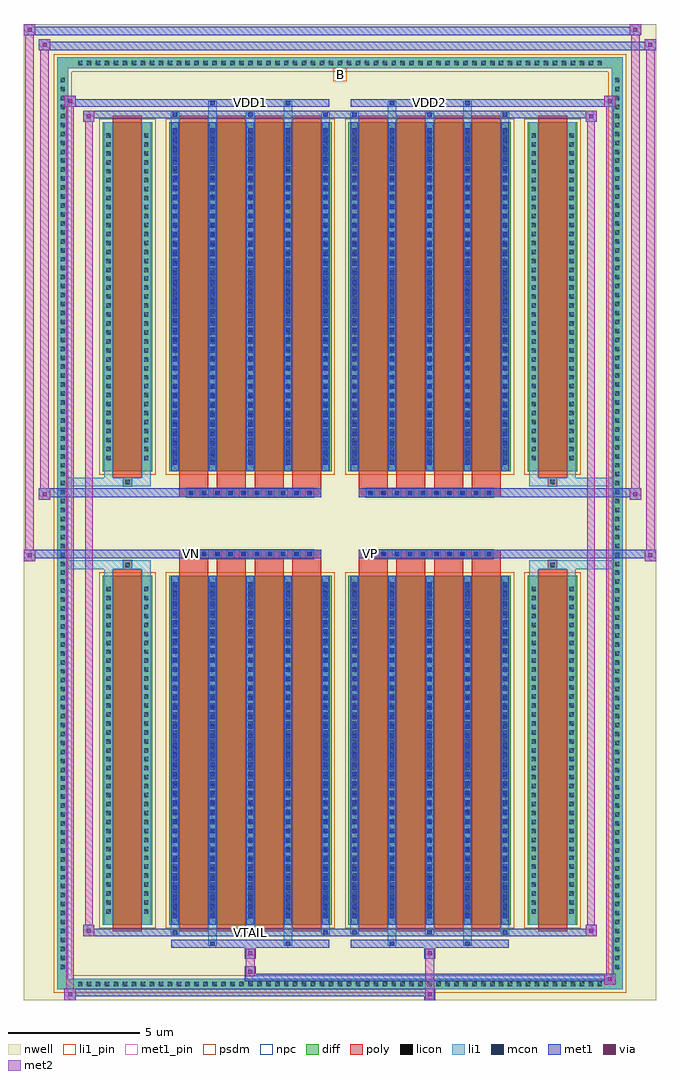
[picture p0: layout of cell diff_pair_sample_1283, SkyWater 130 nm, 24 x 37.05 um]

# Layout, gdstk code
import gdstk
lib = gdstk.Library(unit=1e-6, precision=5e-09)
def R(c, l, rs):  # rectangles x0, y0, x1, y1
    for r in rs: c.add(gdstk.rectangle(r[:2], r[2:], *l))
def A(c, l, x, y, w, h, nx, ny, dx, dy):  # array of equal rectangles
    R(c, l, [(x+i*dx, y+j*dy, x+i*dx+w, y+j*dy+h) for i in range(nx) for j in range(ny)])
def P(c, l, *ps):  # polygons
    for p in ps: c.add(gdstk.Polygon(p, *l))
nwell = (64, 20)
diff = (65, 20)
poly = (66, 20)
licon = (66, 44)
li1_pin = (67, 16)
li1 = (67, 20)
mcon = (67, 44)
met1_pin = (68, 16)
met1 = (68, 20)
via = (68, 44)
met2 = (69, 20)
psdm = (94, 20)
npc = (95, 20)

diff_pair_sample_1283 = lib.new_cell('diff_pair_sample_1283')
R(diff_pair_sample_1283, nwell, [(-12,-18.09,12,18.96), (-9.32,-16.28,-0.01,-0.8), (0.01,-16.28,9.32,-0.8), (-9.32,0.8,-0.01,16.28), (0.01,0.8,9.32,16.28)])
A(diff_pair_sample_1283, diff, -10.065, -17.69, 0.41, 0.41, 59, 2, 0.34, 34.97)
A(diff_pair_sample_1283, diff, -10.73, -17.035, 0.41, 0.41, 1, 100, 0, 0.34)
A(diff_pair_sample_1283, diff, 10.32, -17.035, 0.41, 0.41, 1, 100, 0, 0.34)
R(diff_pair_sample_1283, diff, [(-10.065,-17.69,10.065,-17.28), (-10.73,-17.035,-10.32,17.035), (10.32,-17.035,10.73,17.035), (-9.01,-15.235,-7.13,-1.985), (-6.49,-15.235,-0.32,-1.985), (0.32,-15.235,6.49,-1.985), (7.13,-15.235,9.01,-1.985), (-9.01,1.985,-7.13,15.235), (-6.49,1.985,-0.32,15.235), (0.32,1.985,6.49,15.235), (7.13,1.985,9.01,15.235), (-10.065,17.28,10.065,17.69)])
P(diff_pair_sample_1283, diff, [(10.73,17.69),(-10.73,17.69),(-10.73,-17.28),(-10.32,-17.28),(-10.32,17.28),(10.32,17.28),(10.32,-17.28),(-10.32,-17.28),(-10.73,-17.28),(-10.73,-17.69),(10.73,-17.69)])
A(diff_pair_sample_1283, poly, -6.1, -15.485, 1.1, 13.75, 4, 2, 1.43, 17.22)
A(diff_pair_sample_1283, poly, 0.71, -15.485, 1.1, 13.75, 4, 2, 1.43, 17.22)
A(diff_pair_sample_1283, poly, -6.1, -1.735, 1.1, 0.405, 4, 2, 1.43, 3.065)
A(diff_pair_sample_1283, poly, 0.71, -1.735, 1.1, 0.405, 4, 2, 1.43, 3.065)
A(diff_pair_sample_1283, poly, -5.82, -1.33, 0.33, 0.33, 10, 2, 0.5, 2.33)
A(diff_pair_sample_1283, poly, 0.99, -1.33, 0.33, 0.33, 10, 2, 0.5, 2.33)
R(diff_pair_sample_1283, poly, [(-8.62,-15.485,-7.52,-1.735), (7.52,-15.485,8.62,-1.735), (-8.235,-1.735,-7.905,-1.405), (-8.235,-1.735,-7.905,-1.405), (7.905,-1.735,8.235,-1.405), (7.905,-1.735,8.235,-1.405), (-6.1,-1.33,-0.71,-1), (0.71,-1.33,6.1,-1), (-6.1,1,-0.71,1.33), (0.71,1,6.1,1.33), (-8.235,1.405,-7.905,1.735), (-8.235,1.405,-7.905,1.735), (7.905,1.405,8.235,1.735), (7.905,1.405,8.235,1.735), (-8.62,1.735,-7.52,15.485), (7.52,1.735,8.62,15.485)])
A(diff_pair_sample_1283, licon, -9.945, -17.57, 0.17, 0.17, 59, 2, 0.34, 34.97)
A(diff_pair_sample_1283, licon, -10.61, -16.915, 0.17, 0.17, 1, 100, 0, 0.34)
A(diff_pair_sample_1283, licon, 10.44, -16.915, 0.17, 0.17, 1, 100, 0, 0.34)
A(diff_pair_sample_1283, licon, -8.87, -14.815, 0.17, 0.17, 1, 37, 0, 0.34)
A(diff_pair_sample_1283, licon, -7.44, -14.815, 0.17, 0.17, 1, 37, 0, 0.34)
A(diff_pair_sample_1283, licon, -6.35, -14.815, 0.17, 0.17, 5, 37, 1.43, 0.34)
A(diff_pair_sample_1283, licon, 0.46, -14.815, 0.17, 0.17, 5, 37, 1.43, 0.34)
A(diff_pair_sample_1283, licon, 7.27, -14.815, 0.17, 0.17, 1, 37, 0, 0.34)
A(diff_pair_sample_1283, licon, 8.7, -14.815, 0.17, 0.17, 1, 37, 0, 0.34)
A(diff_pair_sample_1283, licon, -5.74, -1.25, 0.17, 0.17, 10, 2, 0.5, 2.33)
A(diff_pair_sample_1283, licon, 1.07, -1.25, 0.17, 0.17, 10, 2, 0.5, 2.33)
A(diff_pair_sample_1283, licon, -8.87, 2.405, 0.17, 0.17, 1, 37, 0, 0.34)
A(diff_pair_sample_1283, licon, -7.44, 2.405, 0.17, 0.17, 1, 37, 0, 0.34)
A(diff_pair_sample_1283, licon, -6.35, 2.405, 0.17, 0.17, 5, 37, 1.43, 0.34)
A(diff_pair_sample_1283, licon, 0.46, 2.405, 0.17, 0.17, 5, 37, 1.43, 0.34)
A(diff_pair_sample_1283, licon, 7.27, 2.405, 0.17, 0.17, 1, 37, 0, 0.34)
A(diff_pair_sample_1283, licon, 8.7, 2.405, 0.17, 0.17, 1, 37, 0, 0.34)
R(diff_pair_sample_1283, licon, [(-8.155,-1.655,-7.985,-1.485), (7.985,-1.655,8.155,-1.485), (-8.155,1.485,-7.985,1.655), (7.985,1.485,8.155,1.655)])
R(diff_pair_sample_1283, li1_pin, [(-0.25,16.78,0.25,17.28)])
A(diff_pair_sample_1283, li1, -10.025, -17.65, 0.33, 0.33, 59, 2, 0.34, 34.97)
A(diff_pair_sample_1283, li1, -10.69, -16.995, 0.33, 0.33, 1, 100, 0, 0.34)
A(diff_pair_sample_1283, li1, 10.36, -16.995, 0.33, 0.33, 1, 100, 0, 0.34)
A(diff_pair_sample_1283, li1, -6.43, -15.61, 0.33, 0.375, 3, 2, 2.86, 30.845)
A(diff_pair_sample_1283, li1, -6.35, -15.61, 0.17, 0.17, 3, 2, 2.86, 31.05)
A(diff_pair_sample_1283, li1, 0.38, -15.61, 0.33, 0.375, 3, 2, 2.86, 30.845)
A(diff_pair_sample_1283, li1, 0.46, -15.61, 0.17, 0.17, 3, 2, 2.86, 31.05)
A(diff_pair_sample_1283, li1, -6.43, -15.235, 0.33, 13.25, 5, 2, 1.43, 17.22)
A(diff_pair_sample_1283, li1, 0.38, -15.235, 0.33, 13.25, 5, 2, 1.43, 17.22)
A(diff_pair_sample_1283, li1, -6.35, -14.995, 0.17, 0.17, 5, 36, 1.43, 0.36)
A(diff_pair_sample_1283, li1, -6.35, -14.995, 0.17, 12.77, 5, 2, 1.43, 17.22)
A(diff_pair_sample_1283, li1, 0.46, -14.995, 0.17, 0.17, 5, 36, 1.43, 0.36)
A(diff_pair_sample_1283, li1, 0.46, -14.995, 0.17, 12.77, 5, 2, 1.43, 17.22)
A(diff_pair_sample_1283, li1, -8.95, -14.895, 0.33, 0.33, 1, 37, 0, 0.34)
A(diff_pair_sample_1283, li1, -7.52, -14.895, 0.33, 0.33, 1, 37, 0, 0.34)
A(diff_pair_sample_1283, li1, -6.43, -14.895, 0.33, 0.33, 5, 37, 1.43, 0.34)
A(diff_pair_sample_1283, li1, 0.38, -14.895, 0.33, 0.33, 5, 37, 1.43, 0.34)
A(diff_pair_sample_1283, li1, 7.19, -14.895, 0.33, 0.33, 1, 37, 0, 0.34)
A(diff_pair_sample_1283, li1, 8.62, -14.895, 0.33, 0.33, 1, 37, 0, 0.34)
A(diff_pair_sample_1283, li1, -5.82, -1.33, 0.33, 0.33, 10, 2, 0.5, 2.33)
A(diff_pair_sample_1283, li1, 0.99, -1.33, 0.33, 0.33, 10, 2, 0.5, 2.33)
A(diff_pair_sample_1283, li1, -6.35, 2.225, 0.17, 0.17, 5, 36, 1.43, 0.36)
A(diff_pair_sample_1283, li1, 0.46, 2.225, 0.17, 0.17, 5, 36, 1.43, 0.36)
A(diff_pair_sample_1283, li1, -8.95, 2.325, 0.33, 0.33, 1, 37, 0, 0.34)
A(diff_pair_sample_1283, li1, -7.52, 2.325, 0.33, 0.33, 1, 37, 0, 0.34)
A(diff_pair_sample_1283, li1, -6.43, 2.325, 0.33, 0.33, 5, 37, 1.43, 0.34)
A(diff_pair_sample_1283, li1, 0.38, 2.325, 0.33, 0.33, 5, 37, 1.43, 0.34)
A(diff_pair_sample_1283, li1, 7.19, 2.325, 0.33, 0.33, 1, 37, 0, 0.34)
A(diff_pair_sample_1283, li1, 8.62, 2.325, 0.33, 0.33, 1, 37, 0, 0.34)
R(diff_pair_sample_1283, li1, [(-10.73,-17.69,-10.32,-17.28), (-10.73,-17.69,-10.32,-17.28), (-10.32,-17.69,10.32,-17.28), (10.32,-17.69,10.73,-17.28), (10.32,-17.69,10.73,-17.28), (-10.73,-17.28,-10.32,17.28), (10.32,-17.28,10.73,17.28), (-5,-16.04,-4.67,-15.235), (-4.92,-16.04,-4.75,-15.87), (-2.14,-16.04,-1.81,-15.235), (-2.06,-16.04,-1.89,-15.87), (1.81,-16.04,2.14,-15.235), (1.89,-16.04,2.06,-15.87), (4.67,-16.04,5,-15.235), (4.75,-16.04,4.92,-15.87), (-8.95,-15.235,-8.62,-1.985), (-7.52,-15.235,-7.19,-1.985), (7.19,-15.235,7.52,-1.985), (8.62,-15.235,8.95,-1.985), (-8.95,-1.985,-8.62,-1.405), (-7.52,-1.985,-7.19,-1.405), (7.19,-1.985,7.52,-1.405), (8.62,-1.985,8.95,-1.405), (-10.73,-1.735,-8.235,-1.405), (-8.95,-1.735,-8.235,-1.405), (-8.235,-1.735,-7.905,-1.405), (-7.905,-1.735,-7.19,-1.405), (7.19,-1.735,7.905,-1.405), (7.905,-1.735,8.235,-1.405), (7.905,-1.735,10.73,-1.405), (8.235,-1.735,8.95,-1.405), (-10.73,1.405,-8.235,1.735), (-8.95,1.405,-8.235,1.735), (-8.95,1.405,-8.62,1.985), (-8.235,1.405,-7.905,1.735), (-7.905,1.405,-7.19,1.735), (-7.52,1.405,-7.19,1.985), (7.19,1.405,7.905,1.735), (7.19,1.405,7.52,1.985), (7.905,1.405,8.235,1.735), (7.905,1.405,10.73,1.735), (8.235,1.405,8.95,1.735), (8.62,1.405,8.95,1.985), (-8.95,1.985,-8.62,15.235), (-7.52,1.985,-7.19,15.235), (7.19,1.985,7.52,15.235), (8.62,1.985,8.95,15.235), (-5,15.235,-4.67,16.04), (-2.14,15.235,-1.81,16.04), (1.81,15.235,2.14,16.04), (4.67,15.235,5,16.04), (-4.92,15.87,-4.75,16.04), (-2.06,15.87,-1.89,16.04), (1.89,15.87,2.06,16.04), (4.75,15.87,4.92,16.04), (-10.73,17.28,-10.32,17.69), (-10.73,17.28,-10.32,17.69), (-10.32,17.28,10.32,17.69), (10.32,17.28,10.73,17.69), (10.32,17.28,10.73,17.69)])
A(diff_pair_sample_1283, mcon, -6.35, -15.61, 0.17, 0.17, 3, 2, 2.86, 31.05)
A(diff_pair_sample_1283, mcon, 0.46, -15.61, 0.17, 0.17, 3, 2, 2.86, 31.05)
A(diff_pair_sample_1283, mcon, -6.35, -14.995, 0.17, 0.17, 5, 36, 1.43, 0.36)
A(diff_pair_sample_1283, mcon, 0.46, -14.995, 0.17, 0.17, 5, 36, 1.43, 0.36)
A(diff_pair_sample_1283, mcon, -5.74, -1.25, 0.17, 0.17, 10, 2, 0.5, 2.33)
A(diff_pair_sample_1283, mcon, 1.07, -1.25, 0.17, 0.17, 10, 2, 0.5, 2.33)
A(diff_pair_sample_1283, mcon, -6.35, 2.225, 0.17, 0.17, 5, 36, 1.43, 0.36)
A(diff_pair_sample_1283, mcon, 0.46, 2.225, 0.17, 0.17, 5, 36, 1.43, 0.36)
R(diff_pair_sample_1283, mcon, [(-4.92,-16.04,-4.75,-15.87), (-2.06,-16.04,-1.89,-15.87), (1.89,-16.04,2.06,-15.87), (4.75,-16.04,4.92,-15.87), (-4.92,15.87,-4.75,16.04), (-2.06,15.87,-1.89,16.04), (1.89,15.87,2.06,16.04), (4.75,15.87,4.92,16.04)])
R(diff_pair_sample_1283, met1_pin, [(-3.54,-15.65,-3.27,-15.38), (-5.79,-1.29,-5.52,-1.02), (1.02,-1.29,1.29,-1.02), (-3.54,15.83,-3.27,16.1), (3.27,15.83,3.54,16.1)])
A(diff_pair_sample_1283, met1, -6.41, -15.67, 0.29, 0.29, 3, 2, 2.86, 31.05)
A(diff_pair_sample_1283, met1, 0.4, -15.67, 0.29, 0.29, 3, 2, 2.86, 31.05)
A(diff_pair_sample_1283, met1, -6.41, -15.235, 0.29, 13.25, 5, 2, 1.43, 17.22)
A(diff_pair_sample_1283, met1, 0.4, -15.235, 0.29, 13.25, 5, 2, 1.43, 17.22)
A(diff_pair_sample_1283, met1, -6.41, -15.055, 0.29, 0.29, 5, 36, 1.43, 0.36)
A(diff_pair_sample_1283, met1, 0.4, -15.055, 0.29, 0.29, 5, 36, 1.43, 0.36)
A(diff_pair_sample_1283, met1, -5.8, -1.31, 0.29, 0.29, 10, 2, 0.5, 2.33)
A(diff_pair_sample_1283, met1, 1.01, -1.31, 0.29, 0.29, 10, 2, 0.5, 2.33)
A(diff_pair_sample_1283, met1, -6.41, 2.165, 0.29, 0.29, 5, 36, 1.43, 0.36)
A(diff_pair_sample_1283, met1, 0.4, 2.165, 0.29, 0.29, 5, 36, 1.43, 0.36)
R(diff_pair_sample_1283, met1, [(-10.46,-18.09,-10.03,-17.66), (3.19,-18.09,3.62,-17.66), (-10.46,-17.95,3.62,-17.66), (10.03,-17.52,10.46,-17.09), (-3.62,-17.38,10.46,-17.09), (-3.62,-17.24,-3.19,-16.81), (-3.62,-16.53,-3.19,-16.1), (3.19,-16.53,3.62,-16.1), (-6.41,-16.1,-0.4,-15.81), (-4.98,-16.1,-4.69,-15.81), (-2.12,-16.1,-1.83,-15.81), (0.4,-16.1,6.41,-15.81), (1.83,-16.1,2.12,-15.81), (4.69,-16.1,4.98,-15.81), (-9.75,-15.67,-9.32,-15.24), (-9.75,-15.67,-6.41,-15.38), (-6.41,-15.67,-0.4,-15.38), (-0.4,-15.67,0.4,-15.38), (0.4,-15.67,6.41,-15.38), (6.41,-15.67,9.75,-15.38), (9.32,-15.67,9.75,-15.24), (-12,-1.43,-11.57,-1), (11.57,-1.43,12,-1), (-12,-1.33,-0.71,-1), (-6.1,-1.33,-0.71,-1), (0.71,-1.33,6.1,-1), (0.71,-1.33,12,-1), (-11.43,0.9,-11,1.33), (11,0.9,11.43,1.33), (-11.43,1,-6.1,1.33), (-6.1,1,-0.71,1.33), (0.71,1,6.1,1.33), (6.1,1,11.43,1.33), (-9.75,15.24,-9.32,15.67), (9.32,15.24,9.75,15.67), (-9.75,15.38,-6.41,15.67), (-6.41,15.38,-0.4,15.67), (-0.4,15.38,0.4,15.67), (0.4,15.38,6.41,15.67), (6.41,15.38,9.75,15.67), (-10.46,15.81,-10.03,16.24), (-10.46,15.81,-6.41,16.1), (-6.41,15.81,-0.4,16.1), (-4.98,15.81,-4.69,16.1), (-2.12,15.81,-1.83,16.1), (0.4,15.81,6.41,16.1), (1.83,15.81,2.12,16.1), (4.69,15.81,4.98,16.1), (6.41,15.81,10.46,16.1), (10.03,15.81,10.46,16.24), (-11.43,17.96,-11,18.39), (-11.43,17.96,-9.32,18.29), (-9.32,17.96,9.32,18.29), (9.32,17.96,12,18.29), (11.57,17.96,12,18.39), (-12,18.53,-11.57,18.96), (-12,18.53,-9.32,18.86), (-9.32,18.53,9.32,18.86), (9.32,18.53,11.43,18.86), (11,18.53,11.43,18.96)])
R(diff_pair_sample_1283, via, [(-10.32,-17.95,-10.17,-17.8), (3.33,-17.95,3.48,-17.8), (10.17,-17.38,10.32,-17.23), (-3.48,-17.1,-3.33,-16.95), (-3.48,-16.39,-3.33,-16.24), (3.33,-16.39,3.48,-16.24), (-9.61,-15.53,-9.46,-15.38), (9.46,-15.53,9.61,-15.38), (-11.86,-1.29,-11.71,-1.14), (11.71,-1.29,11.86,-1.14), (-11.29,1.04,-11.14,1.19), (11.14,1.04,11.29,1.19), (-9.61,15.38,-9.46,15.53), (9.46,15.38,9.61,15.53), (-10.32,15.95,-10.17,16.1), (10.17,15.95,10.32,16.1), (-11.29,18.1,-11.14,18.25), (11.71,18.1,11.86,18.25), (-11.86,18.67,-11.71,18.82), (11.14,18.67,11.29,18.82)])
R(diff_pair_sample_1283, met2, [(-10.46,-18.09,-10.03,-17.66), (-10.39,-18.09,-10.1,16.24), (-10.1,-18.09,-10.03,-17.66), (-10.41,-18.04,-10.08,-17.71), (3.24,-18.04,3.57,-17.71), (3.24,-17.71,3.57,-16.48), (10.03,-17.52,10.46,-17.09), (10.1,-17.52,10.39,16.24), (10.39,-17.52,10.46,-17.09), (10.08,-17.47,10.41,-17.14), (-3.57,-17.19,-3.24,-16.86), (-3.57,-16.86,-3.24,-16.48), (-3.57,-16.48,-3.24,-16.15), (3.24,-16.48,3.57,-16.15), (-9.75,-15.67,-9.32,-15.24), (-9.68,-15.67,-9.39,15.67), (-9.39,-15.67,-9.32,-15.24), (9.32,-15.67,9.75,-15.24), (9.39,-15.67,9.68,15.67), (9.68,-15.67,9.75,-15.24), (-9.7,-15.62,-9.37,-15.29), (9.37,-15.62,9.7,-15.29), (-12,-1.43,-11.57,-1), (-11.95,-1.43,-11.62,18.96), (-11.62,-1.43,-11.57,-1), (11.57,-1.43,12,-1), (11.62,-1.43,11.95,18.39), (11.95,-1.43,12,-1), (-11.95,-1.38,-11.62,-1.05), (11.62,-1.38,11.95,-1.05), (-11.43,0.9,-11,1.33), (-11.38,0.9,-11.05,18.39), (-11.05,0.9,-11,1.33), (11,0.9,11.43,1.33), (11.05,0.9,11.38,18.96), (11.38,0.9,11.43,1.33), (-11.38,0.95,-11.05,1.28), (11.05,0.95,11.38,1.28), (-9.75,15.24,-9.32,15.67), (-9.39,15.24,-9.32,15.67), (9.32,15.24,9.75,15.67), (9.68,15.24,9.75,15.67), (-9.7,15.29,-9.37,15.62), (9.37,15.29,9.7,15.62), (-10.46,15.81,-10.03,16.24), (-10.1,15.81,-10.03,16.24), (10.03,15.81,10.46,16.24), (10.39,15.81,10.46,16.24), (-10.41,15.86,-10.08,16.19), (10.08,15.86,10.41,16.19), (-11.43,17.96,-11,18.39), (-11.05,17.96,-11,18.39), (11.57,17.96,12,18.39), (11.95,17.96,12,18.39), (-11.38,18.01,-11.05,18.34), (11.62,18.01,11.95,18.34), (-12,18.53,-11.57,18.96), (-11.62,18.53,-11.57,18.96), (11,18.53,11.43,18.96), (11.38,18.53,11.43,18.96), (-11.95,18.58,-11.62,18.91), (11.05,18.58,11.38,18.91)])
R(diff_pair_sample_1283, psdm, [(-9.14,-15.365,-7,-1.855), (-6.62,-15.365,-0.19,-1.855), (0.19,-15.365,6.62,-1.855), (7,-15.365,9.14,-1.855), (-9.14,1.855,-7,15.365), (-6.62,1.855,-0.19,15.365), (0.19,1.855,6.62,15.365), (7,1.855,9.14,15.365)])
P(diff_pair_sample_1283, psdm, [(10.86,17.82),(-10.86,17.82),(-10.86,-17.15),(-10.19,-17.15),(-10.19,17.15),(10.19,17.15),(10.19,-17.15),(-10.19,-17.15),(-10.86,-17.15),(-10.86,-17.82),(10.86,-17.82)])
A(diff_pair_sample_1283, npc, -5.84, -1.35, 0.37, 0.37, 10, 2, 0.5, 2.33)
A(diff_pair_sample_1283, npc, 0.97, -1.35, 0.37, 0.37, 10, 2, 0.5, 2.33)
R(diff_pair_sample_1283, npc, [(-8.255,-1.755,-7.885,-1.385), (7.885,-1.755,8.255,-1.385), (-5.84,-1.35,-4.97,-0.98), (-5.84,-1.35,-4.97,-0.98), (-5.34,-1.35,-4.47,-0.98), (-5.34,-1.35,-4.47,-0.98), (-4.84,-1.35,-3.97,-0.98), (-4.84,-1.35,-3.97,-0.98), (-4.34,-1.35,-3.47,-0.98), (-4.34,-1.35,-3.47,-0.98), (-3.84,-1.35,-2.97,-0.98), (-3.84,-1.35,-2.97,-0.98), (-3.34,-1.35,-2.47,-0.98), (-3.34,-1.35,-2.47,-0.98), (-2.84,-1.35,-1.97,-0.98), (-2.84,-1.35,-1.97,-0.98), (-2.34,-1.35,-1.47,-0.98), (-2.34,-1.35,-1.47,-0.98), (-1.84,-1.35,-0.97,-0.98), (-1.84,-1.35,-0.97,-0.98), (0.97,-1.35,1.84,-0.98), (0.97,-1.35,1.84,-0.98), (1.47,-1.35,2.34,-0.98), (1.47,-1.35,2.34,-0.98), (1.97,-1.35,2.84,-0.98), (1.97,-1.35,2.84,-0.98), (2.47,-1.35,3.34,-0.98), (2.47,-1.35,3.34,-0.98), (2.97,-1.35,3.84,-0.98), (2.97,-1.35,3.84,-0.98), (3.47,-1.35,4.34,-0.98), (3.47,-1.35,4.34,-0.98), (3.97,-1.35,4.84,-0.98), (3.97,-1.35,4.84,-0.98), (4.47,-1.35,5.34,-0.98), (4.47,-1.35,5.34,-0.98), (4.97,-1.35,5.84,-0.98), (4.97,-1.35,5.84,-0.98), (-5.84,0.98,-4.97,1.35), (-5.84,0.98,-4.97,1.35), (-5.34,0.98,-4.47,1.35), (-5.34,0.98,-4.47,1.35), (-4.84,0.98,-3.97,1.35), (-4.84,0.98,-3.97,1.35), (-4.34,0.98,-3.47,1.35), (-4.34,0.98,-3.47,1.35), (-3.84,0.98,-2.97,1.35), (-3.84,0.98,-2.97,1.35), (-3.34,0.98,-2.47,1.35), (-3.34,0.98,-2.47,1.35), (-2.84,0.98,-1.97,1.35), (-2.84,0.98,-1.97,1.35), (-2.34,0.98,-1.47,1.35), (-2.34,0.98,-1.47,1.35), (-1.84,0.98,-0.97,1.35), (-1.84,0.98,-0.97,1.35), (0.97,0.98,1.84,1.35), (0.97,0.98,1.84,1.35), (1.47,0.98,2.34,1.35), (1.47,0.98,2.34,1.35), (1.97,0.98,2.84,1.35), (1.97,0.98,2.84,1.35), (2.47,0.98,3.34,1.35), (2.47,0.98,3.34,1.35), (2.97,0.98,3.84,1.35), (2.97,0.98,3.84,1.35), (3.47,0.98,4.34,1.35), (3.47,0.98,4.34,1.35), (3.97,0.98,4.84,1.35), (3.97,0.98,4.84,1.35), (4.47,0.98,5.34,1.35), (4.47,0.98,5.34,1.35), (4.97,0.98,5.84,1.35), (4.97,0.98,5.84,1.35), (-8.255,1.385,-7.885,1.755), (7.885,1.385,8.255,1.755)])
diff_pair_sample_1283.add(gdstk.Label('VTAIL', (-3.405,-15.515), layer=68, texttype=5))
diff_pair_sample_1283.add(gdstk.Label('VN', (-5.655,-1.155), layer=68, texttype=5))
diff_pair_sample_1283.add(gdstk.Label('VP', (1.155,-1.155), layer=68, texttype=5))
diff_pair_sample_1283.add(gdstk.Label('B', (0,17.03), layer=67, texttype=5))
diff_pair_sample_1283.add(gdstk.Label('VDD2', (3.405,15.965), layer=68, texttype=5))
diff_pair_sample_1283.add(gdstk.Label('VDD1', (-3.405,15.965), layer=68, texttype=5))

lib.write_gds('diff_pair_sample_1283.gds')
